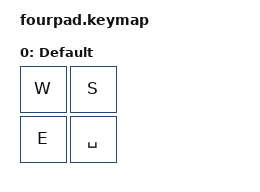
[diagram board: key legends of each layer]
#include <behaviors.dtsi>
#include <dt-bindings/zmk/keys.h>

/ {
    behaviors {
        lgui7_7: lgui7_7 {
            compatible = "zmk,behavior-tap-dance";
            label = "LGUI7_7";
            #binding-cells = <0>;
            bindings = <&kp N7>, <&kp LG(N7)>;
        };

        lgui3_media: lgui3_media {
            compatible = "zmk,behavior-tap-dance";
            label = "LGUI3_MEDIA";
            #binding-cells = <0>;
            bindings = <&kp LG(NUMBER_3)>, <&to 0>, <&kp K_PLAY_PAUSE>;
        };

        DE: DE {
            compatible = "zmk,behavior-tap-dance";
            label = "DE";
            #binding-cells = <0>;
            bindings = <&kp D>, <&kp E>;
        };
    };

    combos { compatible = "zmk,combos"; };

    keymap {
        compatible = "zmk,keymap";
        label = "fourpad";

        default_layer {
            label = "Default";
            bindings = <
&kp W  &kp S
&kp E  &kp SPACE
            >;
        };
    };
};
